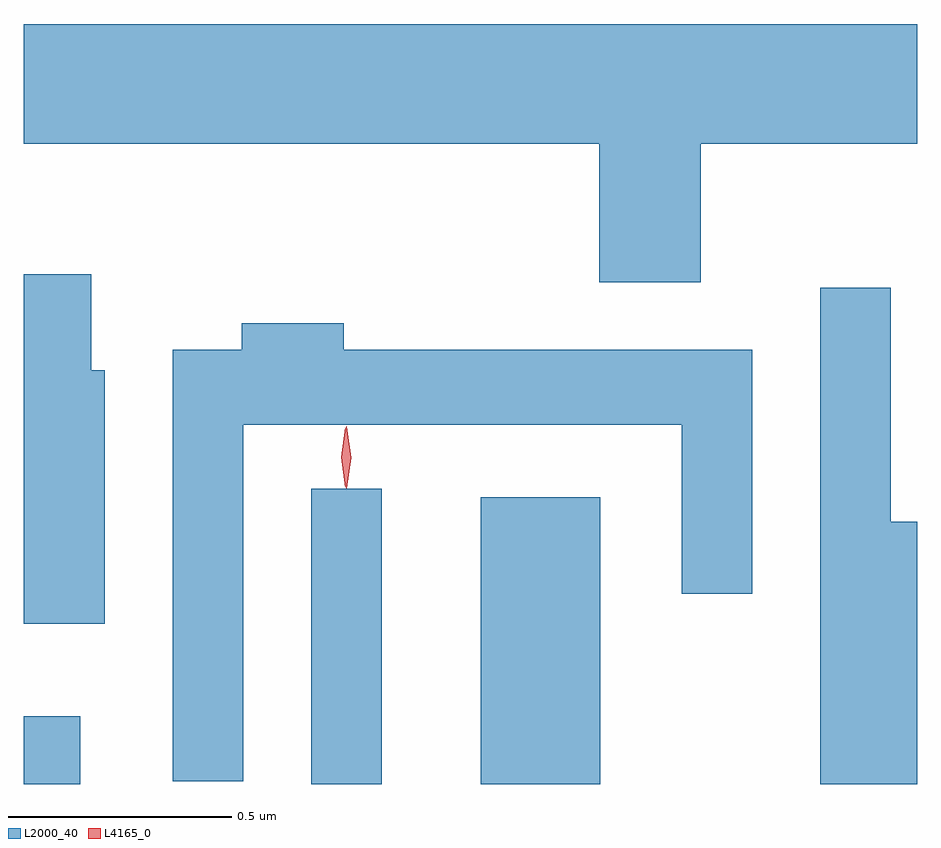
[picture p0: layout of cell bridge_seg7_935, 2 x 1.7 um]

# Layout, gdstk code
import gdstk
lib = gdstk.Library(unit=1e-6, precision=1e-09)
def R(c, l, rs):  # rectangles x0, y0, x1, y1
    for r in rs: c.add(gdstk.rectangle(r[:2], r[2:], *l))
def P(c, l, *ps):  # polygons
    for p in ps: c.add(gdstk.Polygon(p, *l))
L2000_40 = (2000, 40)
L4165_0 = (4165, 0)

bridge_seg7_935 = lib.new_cell('bridge_seg7_935')
R(bridge_seg7_935, L2000_40, [(416.253,1706.222,416.379,1706.374), (416.896,1706.222,417.054,1706.883), (417.276,1706.222,417.544,1706.864)])
P(bridge_seg7_935, L2000_40, [(417.769,1707.656),(418.253,1707.656),(418.253,1707.924),(416.253,1707.924),(416.253,1707.656),(417.541,1707.656),(417.541,1707.346),(417.769,1707.346)],
  [(416.434,1707.149),(416.404,1707.149),(416.404,1707.364),(416.253,1707.364),(416.253,1706.581),(416.434,1706.581)],
  [(418.253,1706.809),(418.194,1706.809),(418.194,1707.333),(418.036,1707.333),(418.036,1706.222),(418.253,1706.222)],
  [(416.744,1707.026),(417.726,1707.026),(417.726,1706.648),(417.884,1706.648),(417.884,1707.194),(416.969,1707.194),(416.969,1707.254),(416.741,1707.254),(416.741,1707.194),(416.586,1707.194),(416.586,1706.228),(416.744,1706.228)])
P(bridge_seg7_935, L4165_0, [(416.975,1706.884),(416.966,1706.953),(416.975,1707.022),(416.976,1707.023),(416.976,1707.022),(416.986,1706.953),(416.976,1706.884),(416.976,1706.884)],
  [(416.972,1706.887),(416.963,1706.954),(416.972,1707.02),(416.972,1707.02),(416.973,1707.02),(416.983,1706.954),(416.973,1706.887),(416.973,1706.887)])

lib.write_gds('bridge_seg7_935.gds')
